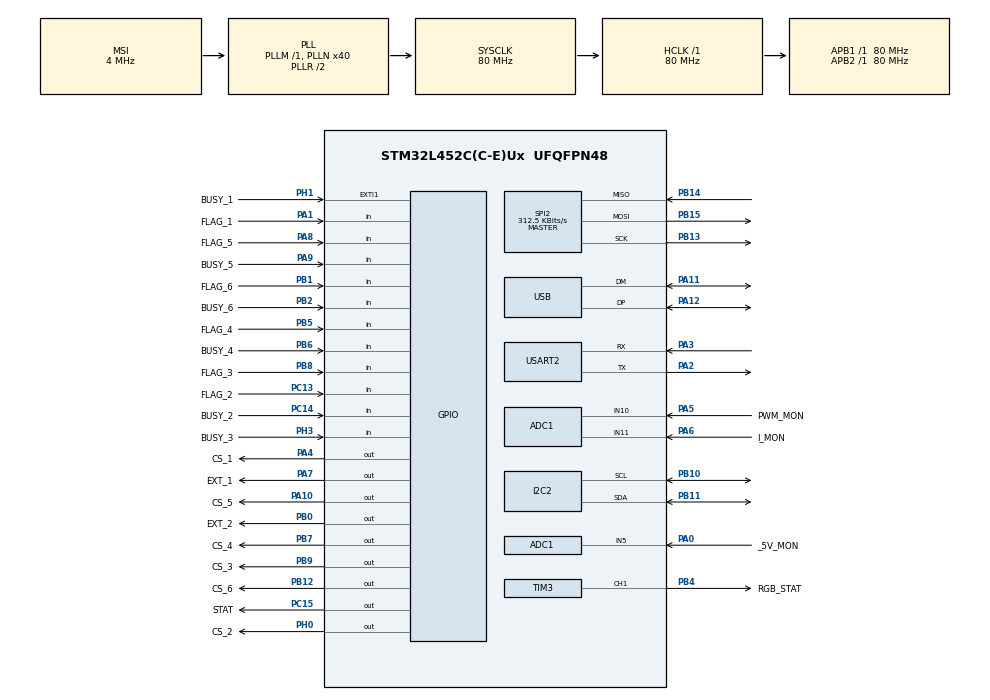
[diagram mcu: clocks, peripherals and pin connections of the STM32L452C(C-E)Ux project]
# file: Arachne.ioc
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ADC1.Channel-0\#ChannelRegularConversion=ADC_CHANNEL_5
ADC1.NbrOfConversionFlag=1
ADC1.OffsetNumber-0\#ChannelRegularConversion=ADC_OFFSET_NONE
ADC1.Rank-0\#ChannelRegularConversion=1
ADC1.SamplingTime-0\#ChannelRegularConversion=ADC_SAMPLETIME_2CYCLES_5
ADC1.master=1
Dma.Request0=TIM3_CH1/TRIG
Dma.TIM3_CH1/TRIG.0.Direction=DMA_MEMORY_TO_PERIPH
Dma.TIM3_CH1/TRIG.0.Instance=DMA1_Channel6
Dma.TIM3_CH1/TRIG.0.MemDataAlignment=DMA_MDATAALIGN_WORD
Dma.TIM3_CH1/TRIG.0.MemInc=DMA_MINC_ENABLE
Dma.TIM3_CH1/TRIG.0.Mode=DMA_NORMAL
Dma.TIM3_CH1/TRIG.0.PeriphDataAlignment=DMA_PDATAALIGN_HALFWORD
Dma.TIM3_CH1/TRIG.0.PeriphInc=DMA_PINC_DISABLE
Dma.TIM3_CH1/TRIG.0.Priority=DMA_PRIORITY_VERY_HIGH
FREERTOS.INCLUDE_xEventGroupSetBitFromISR=1
FREERTOS.INCLUDE_xTaskGetHandle=1
FREERTOS.Tasks01=Hearth_beat,8,128,Hearth_beat_enter,Default,NULL,Dynamic,NULL,NULL
FREERTOS.configGENERATE_RUN_TIME_STATS=1
FREERTOS.configTIMER_TASK_STACK_DEPTH=128
FREERTOS.configTOTAL_HEAP_SIZE=58000
FREERTOS.configUSE_PREEMPTION=0
I2C2.Timing=0x10909CEC
Mcu.Family=STM32L4
Mcu.Name=STM32L452C(C-E)Ux
Mcu.Package=UFQFPN48
NVIC.DMA1_Channel6_IRQn=true\:5\:0\:false\:false\:true\:true\:false\:true
NVIC.EXTI1_IRQn=true\:5\:0\:false\:false\:true\:true\:true\:true
NVIC.PriorityGroup=NVIC_PRIORITYGROUP_4
NVIC.TIM1_UP_TIM16_IRQn=true\:0\:0\:false\:false\:true\:false\:false\:true
NVIC.TIM2_IRQn=true\:0\:0\:true\:false\:true\:true\:true\:true
NVIC.TIM3_IRQn=true\:4\:0\:true\:false\:true\:true\:true\:true
NVIC.TimeBase=TIM1_UP_TIM16_IRQn
NVIC.TimeBaseIP=TIM16
NVIC.USART2_IRQn=true\:5\:0\:false\:false\:true\:true\:true\:true
NVIC.USB_IRQn=true\:5\:0\:false\:false\:true\:true\:false\:true
PA0.GPIO_Label=_5V_MON
PA0.Signal=ADCx_IN5
PA1.GPIO_Label=FLAG_1
PA1.Signal=GPIO_Input
PA10.GPIO_Label=CS_5
PA10.GPIO_Speed=GPIO_SPEED_FREQ_HIGH
PA10.PinState=GPIO_PIN_SET
PA10.Signal=GPIO_Output
PA11.Mode=Device
PA11.Signal=USB_DM
PA12.Mode=Device
PA12.Signal=USB_DP
PA13\ (JTMS/SWDIO).Mode=Serial_Wire
PA13\ (JTMS/SWDIO).Signal=SYS_JTMS-SWDIO
PA14\ (JTCK/SWCLK).Mode=Serial_Wire
PA14\ (JTCK/SWCLK).Signal=SYS_JTCK-SWCLK
PA2.GPIO_PuPd=GPIO_PULLUP
PA2.Mode=Asynchronous
PA2.Signal=USART2_TX
PA3.GPIO_PuPd=GPIO_PULLUP
PA3.Mode=Asynchronous
PA3.Signal=USART2_RX
PA4.GPIO_Label=CS_1
PA4.GPIO_PuPd=GPIO_NOPULL
PA4.GPIO_Speed=GPIO_SPEED_FREQ_HIGH
PA4.PinState=GPIO_PIN_SET
PA4.Signal=GPIO_Output
PA5.GPIO_Label=PWM_MON
PA5.Signal=ADCx_IN10
PA6.GPIO_Label=I_MON
PA6.Signal=ADCx_IN11
PA7.GPIO_Label=EXT_1
PA7.Signal=GPIO_Output
PA8.GPIO_Label=FLAG_5
PA8.Signal=GPIO_Input
PA9.GPIO_Label=BUSY_5
PA9.Signal=GPIO_Input
PB0.GPIO_Label=EXT_2
PB0.Signal=GPIO_Output
PB1.GPIO_Label=FLAG_6
PB1.Signal=GPIO_Input
PB10.Mode=I2C
PB10.Signal=I2C2_SCL
PB11.Mode=I2C
PB11.Signal=I2C2_SDA
PB12.GPIO_Label=CS_6
PB12.GPIO_Speed=GPIO_SPEED_FREQ_HIGH
PB12.PinState=GPIO_PIN_SET
PB12.Signal=GPIO_Output
PB13.GPIO_PuPd=GPIO_NOPULL
PB13.Mode=Full_Duplex_Master
PB13.Signal=SPI2_SCK
PB14.GPIO_PuPd=GPIO_PULLUP
PB14.Mode=Full_Duplex_Master
PB14.Signal=SPI2_MISO
PB15.GPIO_PuPd=GPIO_NOPULL
PB15.Mode=Full_Duplex_Master
PB15.Signal=SPI2_MOSI
PB2.GPIO_Label=BUSY_6
PB2.Signal=GPIO_Input
PB4\ (NJTRST).GPIO_Label=RGB_STAT
PB4\ (NJTRST).GPIO_PuPd=GPIO_PULLDOWN
PB4\ (NJTRST).GPIO_Speed=GPIO_SPEED_FREQ_VERY_HIGH
PB4\ (NJTRST).Signal=S_TIM3_CH1
PB5.GPIO_Label=FLAG_4
PB5.Signal=GPIO_Input
PB6.GPIO_Label=BUSY_4
PB6.Signal=GPIO_Input
PB7.GPIO_Label=CS_4
PB7.GPIO_Speed=GPIO_SPEED_FREQ_HIGH
PB7.PinState=GPIO_PIN_SET
PB7.Signal=GPIO_Output
PB8.GPIO_Label=FLAG_3
PB8.Signal=GPIO_Input
PB9.GPIO_Label=CS_3
PB9.GPIO_Speed=GPIO_SPEED_FREQ_HIGH
PB9.PinState=GPIO_PIN_SET
PB9.Signal=GPIO_Output
PC13.GPIO_Label=FLAG_2
PC13.Signal=GPIO_Input
PC14-OSC32_IN\ (PC14).GPIO_Label=BUSY_2
PC14-OSC32_IN\ (PC14).Signal=GPIO_Input
PC15-OSC32_OUT\ (PC15).GPIO_Label=STAT
PC15-OSC32_OUT\ (PC15).Signal=GPIO_Output
PH0-OSC_IN\ (PH0).GPIO_Label=CS_2
PH0-OSC_IN\ (PH0).GPIO_Speed=GPIO_SPEED_FREQ_HIGH
PH0-OSC_IN\ (PH0).PinState=GPIO_PIN_SET
PH0-OSC_IN\ (PH0).Signal=GPIO_Output
PH1-OSC_OUT\ (PH1).GPIO_Label=BUSY_1
PH1-OSC_OUT\ (PH1).Signal=GPXTI1
PH3-BOOT0\ (BOOT0).GPIO_Label=BUSY_3
PH3-BOOT0\ (BOOT0).Signal=GPIO_Input
ProjectManager.HeapSize=0x200
ProjectManager.StackSize=0x400
ProjectManager.TargetToolchain=Makefile
RCC.ADCFreq_Value=48000000
RCC.AHBFreq_Value=80000000
RCC.APB1Freq_Value=80000000
RCC.APB1TimFreq_Value=80000000
RCC.APB2Freq_Value=80000000
RCC.APB2TimFreq_Value=80000000
RCC.CortexFreq_Value=80000000
RCC.HCLKFreq_Value=80000000
RCC.HSE_VALUE=8000000
RCC.HSI48_VALUE=48000000
RCC.HSI_VALUE=16000000
RCC.LSE_VALUE=32768
RCC.MSI_VALUE=4000000
RCC.PLLN=40
RCC.PLLSAI1N=24
RCC.SYSCLKFreq_VALUE=80000000
RCC.SYSCLKSource=RCC_SYSCLKSOURCE_PLLCLK
RCC.USBFreq_Value=48000000
RCC.VCOOutputFreq_Value=160000000
SH.ADCx_IN10.0=ADC1_IN10,IN10-Single-Ended
SH.ADCx_IN11.0=ADC1_IN11,IN11-Single-Ended
SH.ADCx_IN5.0=ADC1_IN5,IN5-Single-Ended
SH.S_TIM3_CH1.0=TIM3_CH1,Output Compare1 CH1
SPI2.BaudRatePrescaler=SPI_BAUDRATEPRESCALER_256
SPI2.CLKPhase=SPI_PHASE_2EDGE
SPI2.CLKPolarity=SPI_POLARITY_HIGH
SPI2.CalculateBaudRate=312.5 KBits/s
SPI2.DataSize=SPI_DATASIZE_8BIT
SPI2.Direction=SPI_DIRECTION_2LINES
SPI2.Mode=SPI_MODE_MASTER
SPI2.VirtualType=VM_MASTER
TIM3.Channel-Output\ Compare1\ CH1=TIM_CHANNEL_1
TIM3.OCMode_1=TIM_OCMODE_TOGGLE
TIM3.Period=65534
TIM3.Pulse-Output\ Compare1\ CH1=65535
TIM3.TIM_MasterOutputTrigger=TIM_TRGO_UPDATE
USART2.VirtualMode-Asynchronous=VM_ASYNC
USB_DEVICE.CLASS_NAME_FS=CDC
USB_DEVICE.MANUFACTURER_STRING=TheColonelYoung
USB_DEVICE.PRODUCT_STRING_CDC_FS=Arachne manipulator
USB_DEVICE.USBD_LPM_ENABLED=0
USB_DEVICE.VirtualMode=Cdc
USB_DEVICE.VirtualModeFS=Cdc_FS
VP_FREERTOS_VS_CMSIS_V2.Mode=CMSIS_V2
VP_SYS_VS_tim16.Mode=TIM16
VP_TIM2_VS_ClockSourceINT.Mode=Internal
VP_TIM3_VS_ClockSourceINT.Mode=Internal
VP_USB_DEVICE_VS_USB_DEVICE_CDC_FS.Mode=CDC_FS
board=custom

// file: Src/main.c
/* USER CODE BEGIN Header */

/**
  ******************************************************************************
  * @file           : main.c
  * @brief          : Main program body
  ******************************************************************************
  * @attention
  *
  * <h2><center>&copy; Copyright (c) 2020 STMicroelectronics.
  * All rights reserved.</center></h2>
  *
  * This software component is licensed by ST under BSD 3-Clause license,
  * the "License"; You may not use this file except in compliance with the
  * License. You may obtain a copy of the License at:
  *                        opensource.org/licenses/BSD-3-Clause
  *
  ******************************************************************************
  */
/* USER CODE END Header */
#include "main.h"
#include "cmsis_os.h"
#include "usb_device.h"

/* USER CODE BEGIN Includes */
#include <functional>

#include "gpio/pin.hpp"
#include "device/device.hpp"
#include "usbd_cdc_if.h"
#include "misc/logger.hpp"
#include "misc/invocation_wrapper.hpp"
#include "tools/tasker.hpp"
#include "led/WS2818B.hpp"
#include "motor/L6470.hpp"
#include "construction/motion_axis_L6470.hpp"
#include "../app/eyrina.hpp"
/* USER CODE END Includes */

ADC_HandleTypeDef hadc1;

I2C_HandleTypeDef hi2c2;

SPI_HandleTypeDef hspi2;

TIM_HandleTypeDef htim2;
TIM_HandleTypeDef htim3;
DMA_HandleTypeDef hdma_tim3_ch1_trig;

UART_HandleTypeDef huart2;

/* Definitions for Hearth_beat */
osThreadId_t Hearth_beatHandle;
const osThreadAttr_t Hearth_beat_attributes = {
    .name       = "Hearth_beat",
    .stack_size = 128 * 4,
    .priority   = (osPriority_t) osPriorityLow,
};

void SystemClock_Config(void);
static void MX_GPIO_Init(void);
static void MX_DMA_Init(void);
static void MX_ADC1_Init(void);
static void MX_SPI2_Init(void);
static void MX_TIM3_Init(void);
static void MX_USART2_UART_Init(void);
static void MX_I2C2_Init(void);
static void MX_TIM2_Init(void);
void Hearth_beat_enter(void *argument);

int main(void){

    /* MCU Configuration--------------------------------------------------------*/

    /* Reset of all peripherals, Initializes the Flash interface and the Systick. */
    HAL_Init();

    /* Configure the system clock */
    SystemClock_Config();

    /* Initialize all configured peripherals */
    MX_GPIO_Init();
    MX_DMA_Init();
    MX_ADC1_Init();
    MX_SPI2_Init();
    MX_TIM3_Init();
    MX_USART2_UART_Init();
    MX_I2C2_Init();
    MX_TIM2_Init();

    /* Init scheduler */
    osKernelInitialize();

    /* Create the thread(s) */
    /* creation of Hearth_beat */
    Hearth_beatHandle = osThreadNew(Hearth_beat_enter, NULL, &Hearth_beat_attributes);

    /* USER CODE BEGIN RTOS_THREADS */
    device()->Enable_CLI(device()->mcu->USB_port);
    device()->Enable_Filesystem();
    device()->cli->Enable_filesystem_executable(device()->fs);
    device()->cli->Enable_history(5);

    Logger().Instance()->Add_log_channel(new Invocation_wrapper<UART, int, string>(device()->mcu->UART_2, &UART::Send));

    Pin *Status_LED = new Pin('C', 15);
    Status_LED->Set(0);

    Tasker::Instance(device()->mcu->TIM_2);
    Tasker::Instance()->New_event(50000, -1, Status_LED, &Pin::Toggle, 0, "LED_Toggle");

    // WS2818B *led = new WS2818B(device()->mcu->TIM_3, 0);
    // led->Color(0x08, 0x00, 0x00);

    // HAL_Delay(100);

    Eyrina *eyrina = new Eyrina();
    eyrina->Init();
    device()->cli->Start_foreground_application("/apps/eyrina");
    /* add threads, ... */
    /* USER CODE END RTOS_THREADS */

    /* Start scheduler */
    osKernelStart();

    /* We should never get here as control is now taken by the scheduler */
    /* Infinite loop */
    while (1) {

    }
} // main

void SystemClock_Config(void){
    RCC_OscInitTypeDef RCC_OscInitStruct   = { 0 };
    RCC_ClkInitTypeDef RCC_ClkInitStruct   = { 0 };
    RCC_PeriphCLKInitTypeDef PeriphClkInit = { 0 };

    /** Initializes the RCC Oscillators according to the specified parameters
    * in the RCC_OscInitTypeDef structure.
    */
    RCC_OscInitStruct.OscillatorType      = RCC_OSCILLATORTYPE_MSI;
    RCC_OscInitStruct.MSIState            = RCC_MSI_ON;
    RCC_OscInitStruct.MSICalibrationValue = 0;
    RCC_OscInitStruct.MSIClockRange       = RCC_MSIRANGE_6;
    RCC_OscInitStruct.PLL.PLLState        = RCC_PLL_ON;
    RCC_OscInitStruct.PLL.PLLSource       = RCC_PLLSOURCE_MSI;
    RCC_OscInitStruct.PLL.PLLM            = 1;
    RCC_OscInitStruct.PLL.PLLN            = 40;
    RCC_OscInitStruct.PLL.PLLP            = RCC_PLLP_DIV7;
    RCC_OscInitStruct.PLL.PLLQ            = RCC_PLLQ_DIV2;
    RCC_OscInitStruct.PLL.PLLR            = RCC_PLLR_DIV2;
    if (HAL_RCC_OscConfig(&RCC_OscInitStruct) != HAL_OK) {
        Error_Handler();
    }

    /** Initializes the CPU, AHB and APB buses clocks
    */
    RCC_ClkInitStruct.ClockType = RCC_CLOCKTYPE_HCLK | RCC_CLOCKTYPE_SYSCLK
      | RCC_CLOCKTYPE_PCLK1 | RCC_CLOCKTYPE_PCLK2;
    RCC_ClkInitStruct.SYSCLKSource   = RCC_SYSCLKSOURCE_PLLCLK;
    RCC_ClkInitStruct.AHBCLKDivider  = RCC_SYSCLK_DIV1;
    RCC_ClkInitStruct.APB1CLKDivider = RCC_HCLK_DIV1;
    RCC_ClkInitStruct.APB2CLKDivider = RCC_HCLK_DIV1;

    if (HAL_RCC_ClockConfig(&RCC_ClkInitStruct, FLASH_LATENCY_4) != HAL_OK) {
        Error_Handler();
    }
    PeriphClkInit.PeriphClockSelection = RCC_PERIPHCLK_USART2 | RCC_PERIPHCLK_I2C2
      | RCC_PERIPHCLK_USB | RCC_PERIPHCLK_ADC;
    PeriphClkInit.Usart2ClockSelection    = RCC_USART2CLKSOURCE_PCLK1;
    PeriphClkInit.I2c2ClockSelection      = RCC_I2C2CLKSOURCE_PCLK1;
    PeriphClkInit.AdcClockSelection       = RCC_ADCCLKSOURCE_PLLSAI1;
    PeriphClkInit.UsbClockSelection       = RCC_USBCLKSOURCE_PLLSAI1;
    PeriphClkInit.PLLSAI1.PLLSAI1Source   = RCC_PLLSOURCE_MSI;
    PeriphClkInit.PLLSAI1.PLLSAI1M        = 1;
    PeriphClkInit.PLLSAI1.PLLSAI1N        = 24;
    PeriphClkInit.PLLSAI1.PLLSAI1P        = RCC_PLLP_DIV7;
    PeriphClkInit.PLLSAI1.PLLSAI1Q        = RCC_PLLQ_DIV2;
    PeriphClkInit.PLLSAI1.PLLSAI1R        = RCC_PLLR_DIV2;
    PeriphClkInit.PLLSAI1.PLLSAI1ClockOut = RCC_PLLSAI1_48M2CLK | RCC_PLLSAI1_ADC1CLK;
    if (HAL_RCCEx_PeriphCLKConfig(&PeriphClkInit) != HAL_OK) {
        Error_Handler();
    }

    /** Configure the main internal regulator output voltage
    */
    if (HAL_PWREx_ControlVoltageScaling(PWR_REGULATOR_VOLTAGE_SCALE1) != HAL_OK) {
        Error_Handler();
    }
} // SystemClock_Config

static void MX_ADC1_Init(void){

    ADC_ChannelConfTypeDef sConfig = { 0 };

    /** Common config
    */
    hadc1.Instance = ADC1;
    hadc1.Init.ClockPrescaler        = ADC_CLOCK_ASYNC_DIV1;
    hadc1.Init.Resolution            = ADC_RESOLUTION_12B;
    hadc1.Init.DataAlign             = ADC_DATAALIGN_RIGHT;
    hadc1.Init.ScanConvMode          = ADC_SCAN_DISABLE;
    hadc1.Init.EOCSelection          = ADC_EOC_SINGLE_CONV;
    hadc1.Init.LowPowerAutoWait      = DISABLE;
    hadc1.Init.ContinuousConvMode    = DISABLE;
    hadc1.Init.NbrOfConversion       = 1;
    hadc1.Init.DiscontinuousConvMode = DISABLE;
    hadc1.Init.ExternalTrigConv      = ADC_SOFTWARE_START;
    hadc1.Init.ExternalTrigConvEdge  = ADC_EXTERNALTRIGCONVEDGE_NONE;
    hadc1.Init.DMAContinuousRequests = DISABLE;
    hadc1.Init.Overrun = ADC_OVR_DATA_PRESERVED;
    hadc1.Init.OversamplingMode = DISABLE;
    if (HAL_ADC_Init(&hadc1) != HAL_OK) {
        Error_Handler();
    }

    /** Configure Regular Channel
    */
    sConfig.Channel      = ADC_CHANNEL_5;
    sConfig.Rank         = ADC_REGULAR_RANK_1;
    sConfig.SamplingTime = ADC_SAMPLETIME_2CYCLES_5;
    sConfig.SingleDiff   = ADC_SINGLE_ENDED;
    sConfig.OffsetNumber = ADC_OFFSET_NONE;
    sConfig.Offset       = 0;
    if (HAL_ADC_ConfigChannel(&hadc1, &sConfig) != HAL_OK) {
        Error_Handler();
    }
} // MX_ADC1_Init

static void MX_I2C2_Init(void){

    hi2c2.Instance              = I2C2;
    hi2c2.Init.Timing           = 0x10909CEC;
    hi2c2.Init.OwnAddress1      = 0;
    hi2c2.Init.AddressingMode   = I2C_ADDRESSINGMODE_7BIT;
    hi2c2.Init.DualAddressMode  = I2C_DUALADDRESS_DISABLE;
    hi2c2.Init.OwnAddress2      = 0;
    hi2c2.Init.OwnAddress2Masks = I2C_OA2_NOMASK;
    hi2c2.Init.GeneralCallMode  = I2C_GENERALCALL_DISABLE;
    hi2c2.Init.NoStretchMode    = I2C_NOSTRETCH_DISABLE;
    if (HAL_I2C_Init(&hi2c2) != HAL_OK) {
        Error_Handler();
    }

    /** Configure Analogue filter
    */
    if (HAL_I2CEx_ConfigAnalogFilter(&hi2c2, I2C_ANALOGFILTER_ENABLE) != HAL_OK) {
        Error_Handler();
    }

    /** Configure Digital filter
    */
    if (HAL_I2CEx_ConfigDigitalFilter(&hi2c2, 0) != HAL_OK) {
        Error_Handler();
    }
} // MX_I2C2_Init

static void MX_SPI2_Init(void){

    /* SPI2 parameter configuration*/
    hspi2.Instance               = SPI2;
    hspi2.Init.Mode              = SPI_MODE_MASTER;
    hspi2.Init.Direction         = SPI_DIRECTION_2LINES;
    hspi2.Init.DataSize          = SPI_DATASIZE_8BIT;
    hspi2.Init.CLKPolarity       = SPI_POLARITY_HIGH;
    hspi2.Init.CLKPhase          = SPI_PHASE_2EDGE;
    hspi2.Init.NSS               = SPI_NSS_SOFT;
    hspi2.Init.BaudRatePrescaler = SPI_BAUDRATEPRESCALER_256;
    hspi2.Init.FirstBit          = SPI_FIRSTBIT_MSB;
    hspi2.Init.TIMode            = SPI_TIMODE_DISABLE;
    hspi2.Init.CRCCalculation    = SPI_CRCCALCULATION_DISABLE;
    hspi2.Init.CRCPolynomial     = 7;
    hspi2.Init.CRCLength         = SPI_CRC_LENGTH_DATASIZE;
    hspi2.Init.NSSPMode          = SPI_NSS_PULSE_DISABLE;
    if (HAL_SPI_Init(&hspi2) != HAL_OK) {
        Error_Handler();
    }
}

static void MX_TIM2_Init(void){

    TIM_ClockConfigTypeDef sClockSourceConfig = { 0 };
    TIM_MasterConfigTypeDef sMasterConfig     = { 0 };

    htim2.Instance               = TIM2;
    htim2.Init.Prescaler         = 0;
    htim2.Init.CounterMode       = TIM_COUNTERMODE_UP;
    htim2.Init.Period            = 4294967295;
    htim2.Init.ClockDivision     = TIM_CLOCKDIVISION_DIV1;
    htim2.Init.AutoReloadPreload = TIM_AUTORELOAD_PRELOAD_DISABLE;
    if (HAL_TIM_Base_Init(&htim2) != HAL_OK) {
        Error_Handler();
    }
    sClockSourceConfig.ClockSource = TIM_CLOCKSOURCE_INTERNAL;
    if (HAL_TIM_ConfigClockSource(&htim2, &sClockSourceConfig) != HAL_OK) {
        Error_Handler();
    }
    sMasterConfig.MasterOutputTrigger = TIM_TRGO_RESET;
    sMasterConfig.MasterSlaveMode     = TIM_MASTERSLAVEMODE_DISABLE;
    if (HAL_TIMEx_MasterConfigSynchronization(&htim2, &sMasterConfig) != HAL_OK) {
        Error_Handler();
    }
} // MX_TIM2_Init

static void MX_TIM3_Init(void){

    TIM_ClockConfigTypeDef sClockSourceConfig = { 0 };
    TIM_MasterConfigTypeDef sMasterConfig     = { 0 };
    TIM_OC_InitTypeDef sConfigOC = { 0 };

    htim3.Instance               = TIM3;
    htim3.Init.Prescaler         = 0;
    htim3.Init.CounterMode       = TIM_COUNTERMODE_UP;
    htim3.Init.Period            = 65534;
    htim3.Init.ClockDivision     = TIM_CLOCKDIVISION_DIV1;
    htim3.Init.AutoReloadPreload = TIM_AUTORELOAD_PRELOAD_DISABLE;
    if (HAL_TIM_Base_Init(&htim3) != HAL_OK) {
        Error_Handler();
    }
    sClockSourceConfig.ClockSource = TIM_CLOCKSOURCE_INTERNAL;
    if (HAL_TIM_ConfigClockSource(&htim3, &sClockSourceConfig) != HAL_OK) {
        Error_Handler();
    }
    if (HAL_TIM_OC_Init(&htim3) != HAL_OK) {
        Error_Handler();
    }
    sMasterConfig.MasterOutputTrigger = TIM_TRGO_UPDATE;
    sMasterConfig.MasterSlaveMode     = TIM_MASTERSLAVEMODE_DISABLE;
    if (HAL_TIMEx_MasterConfigSynchronization(&htim3, &sMasterConfig) != HAL_OK) {
        Error_Handler();
    }
    sConfigOC.OCMode     = TIM_OCMODE_TOGGLE;
    sConfigOC.Pulse      = 65535;
    sConfigOC.OCPolarity = TIM_OCPOLARITY_HIGH;
    sConfigOC.OCFastMode = TIM_OCFAST_DISABLE;
    if (HAL_TIM_OC_ConfigChannel(&htim3, &sConfigOC, TIM_CHANNEL_1) != HAL_OK) {
        Error_Handler();
    }
    HAL_TIM_MspPostInit(&htim3);
} // MX_TIM3_Init

static void MX_USART2_UART_Init(void){

    huart2.Instance                    = USART2;
    huart2.Init.BaudRate               = 115200;
    huart2.Init.WordLength             = UART_WORDLENGTH_8B;
    huart2.Init.StopBits               = UART_STOPBITS_1;
    huart2.Init.Parity                 = UART_PARITY_NONE;
    huart2.Init.Mode                   = UART_MODE_TX_RX;
    huart2.Init.HwFlowCtl              = UART_HWCONTROL_NONE;
    huart2.Init.OverSampling           = UART_OVERSAMPLING_16;
    huart2.Init.OneBitSampling         = UART_ONE_BIT_SAMPLE_DISABLE;
    huart2.AdvancedInit.AdvFeatureInit = UART_ADVFEATURE_NO_INIT;
    if (HAL_UART_Init(&huart2) != HAL_OK) {
        Error_Handler();
    }
}

static void MX_DMA_Init(void){
    /* DMA controller clock enable */
    __HAL_RCC_DMA1_CLK_ENABLE();

    /* DMA interrupt init */
    /* DMA1_Channel6_IRQn interrupt configuration */
    HAL_NVIC_SetPriority(DMA1_Channel6_IRQn, 5, 0);
    HAL_NVIC_EnableIRQ(DMA1_Channel6_IRQn);
}

static void MX_GPIO_Init(void){
    GPIO_InitTypeDef GPIO_InitStruct = { 0 };

    /* GPIO Ports Clock Enable */
    __HAL_RCC_GPIOC_CLK_ENABLE();
    __HAL_RCC_GPIOH_CLK_ENABLE();
    __HAL_RCC_GPIOA_CLK_ENABLE();
    __HAL_RCC_GPIOB_CLK_ENABLE();

    /*Configure GPIO pin Output Level */
    HAL_GPIO_WritePin(STAT_GPIO_Port, STAT_Pin, GPIO_PIN_RESET);

    /*Configure GPIO pin Output Level */
    HAL_GPIO_WritePin(CS_2_GPIO_Port, CS_2_Pin, GPIO_PIN_SET);

    /*Configure GPIO pin Output Level */
    HAL_GPIO_WritePin(GPIOA, CS_1_Pin | CS_5_Pin, GPIO_PIN_SET);

    /*Configure GPIO pin Output Level */
    HAL_GPIO_WritePin(EXT_1_GPIO_Port, EXT_1_Pin, GPIO_PIN_RESET);

    /*Configure GPIO pin Output Level */
    HAL_GPIO_WritePin(EXT_2_GPIO_Port, EXT_2_Pin, GPIO_PIN_RESET);

    /*Configure GPIO pin Output Level */
    HAL_GPIO_WritePin(GPIOB, CS_6_Pin | CS_4_Pin | CS_3_Pin, GPIO_PIN_SET);

    /*Configure GPIO pins : FLAG_2_Pin BUSY_2_Pin */
    GPIO_InitStruct.Pin  = FLAG_2_Pin | BUSY_2_Pin;
    GPIO_InitStruct.Mode = GPIO_MODE_INPUT;
    GPIO_InitStruct.Pull = GPIO_NOPULL;
    HAL_GPIO_Init(GPIOC, &GPIO_InitStruct);

    /*Configure GPIO pin : STAT_Pin */
    GPIO_InitStruct.Pin   = STAT_Pin;
    GPIO_InitStruct.Mode  = GPIO_MODE_OUTPUT_PP;
    GPIO_InitStruct.Pull  = GPIO_NOPULL;
    GPIO_InitStruct.Speed = GPIO_SPEED_FREQ_LOW;
    HAL_GPIO_Init(STAT_GPIO_Port, &GPIO_InitStruct);

    /*Configure GPIO pin : CS_2_Pin */
    GPIO_InitStruct.Pin   = CS_2_Pin;
    GPIO_InitStruct.Mode  = GPIO_MODE_OUTPUT_PP;
    GPIO_InitStruct.Pull  = GPIO_NOPULL;
    GPIO_InitStruct.Speed = GPIO_SPEED_FREQ_HIGH;
    HAL_GPIO_Init(CS_2_GPIO_Port, &GPIO_InitStruct);

    /*Configure GPIO pin : BUSY_1_Pin */
    GPIO_InitStruct.Pin  = BUSY_1_Pin;
    GPIO_InitStruct.Mode = GPIO_MODE_IT_RISING;
    GPIO_InitStruct.Pull = GPIO_NOPULL;
    HAL_GPIO_Init(BUSY_1_GPIO_Port, &GPIO_InitStruct);

    /*Configure GPIO pins : FLAG_1_Pin FLAG_5_Pin BUSY_5_Pin */
    GPIO_InitStruct.Pin  = FLAG_1_Pin | FLAG_5_Pin | BUSY_5_Pin;
    GPIO_InitStruct.Mode = GPIO_MODE_INPUT;
    GPIO_InitStruct.Pull = GPIO_NOPULL;
    HAL_GPIO_Init(GPIOA, &GPIO_InitStruct);

    /*Configure GPIO pins : CS_1_Pin CS_5_Pin */
    GPIO_InitStruct.Pin   = CS_1_Pin | CS_5_Pin;
    GPIO_InitStruct.Mode  = GPIO_MODE_OUTPUT_PP;
    GPIO_InitStruct.Pull  = GPIO_NOPULL;
    GPIO_InitStruct.Speed = GPIO_SPEED_FREQ_HIGH;
    HAL_GPIO_Init(GPIOA, &GPIO_InitStruct);

    /*Configure GPIO pin : EXT_1_Pin */
    GPIO_InitStruct.Pin   = EXT_1_Pin;
    GPIO_InitStruct.Mode  = GPIO_MODE_OUTPUT_PP;
    GPIO_InitStruct.Pull  = GPIO_NOPULL;
    GPIO_InitStruct.Speed = GPIO_SPEED_FREQ_LOW;
    HAL_GPIO_Init(EXT_1_GPIO_Port, &GPIO_InitStruct);

    /*Configure GPIO pin : EXT_2_Pin */
    GPIO_InitStruct.Pin   = EXT_2_Pin;
    GPIO_InitStruct.Mode  = GPIO_MODE_OUTPUT_PP;
    GPIO_InitStruct.Pull  = GPIO_NOPULL;
    GPIO_InitStruct.Speed = GPIO_SPEED_FREQ_LOW;
    HAL_GPIO_Init(EXT_2_GPIO_Port, &GPIO_InitStruct);

    /*Configure GPIO pins : FLAG_6_Pin BUSY_6_Pin FLAG_4_Pin BUSY_4_Pin
                             FLAG_3_Pin */
    GPIO_InitStruct.Pin = FLAG_6_Pin | BUSY_6_Pin | FLAG_4_Pin | BUSY_4_Pin
      | FLAG_3_Pin;
    GPIO_InitStruct.Mode = GPIO_MODE_INPUT;
    GPIO_InitStruct.Pull = GPIO_NOPULL;
    HAL_GPIO_Init(GPIOB, &GPIO_InitStruct);

    /*Configure GPIO pins : CS_6_Pin CS_4_Pin CS_3_Pin */
    GPIO_InitStruct.Pin   = CS_6_Pin | CS_4_Pin | CS_3_Pin;
    GPIO_InitStruct.Mode  = GPIO_MODE_OUTPUT_PP;
    GPIO_InitStruct.Pull  = GPIO_NOPULL;
    GPIO_InitStruct.Speed = GPIO_SPEED_FREQ_HIGH;
    HAL_GPIO_Init(GPIOB, &GPIO_InitStruct);

    /*Configure GPIO pin : BUSY_3_Pin */
    GPIO_InitStruct.Pin  = BUSY_3_Pin;
    GPIO_InitStruct.Mode = GPIO_MODE_INPUT;
    GPIO_InitStruct.Pull = GPIO_NOPULL;
    HAL_GPIO_Init(BUSY_3_GPIO_Port, &GPIO_InitStruct);

    /* EXTI interrupt init*/
    HAL_NVIC_SetPriority(EXTI1_IRQn, 5, 0);
    HAL_NVIC_EnableIRQ(EXTI1_IRQn);
} // MX_GPIO_Init

void Hearth_beat_enter(void *argument){
    /* init code for USB_DEVICE */
    MX_USB_DEVICE_Init();
    /* USER CODE BEGIN 5 */
    Pin *Status_LED = new Pin('C', 15);
    Status_LED->Set(0);
    /* Infinite loop */
    for (;;) {
        Status_LED->Set(1);
        osDelay(100);
        Status_LED->Set(0);
        osDelay(100);
    }
    /* USER CODE END 5 */
}

void HAL_TIM_PeriodElapsedCallback(TIM_HandleTypeDef *htim){
    if (htim->Instance == TIM16) {
        HAL_IncTick();
    }
}

void Error_Handler(void){
}

/************************ (C) COPYRIGHT STMicroelectronics *****END OF FILE****/

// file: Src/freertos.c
/* USER CODE BEGIN Header */

/**
  ******************************************************************************
  * File Name          : freertos.c
  * Description        : Code for freertos applications
  ******************************************************************************
  * @attention
  *
  * <h2><center>&copy; Copyright (c) 2021 STMicroelectronics.
  * All rights reserved.</center></h2>
  *
  * This software component is licensed by ST under Ultimate Liberty license
  * SLA0044, the "License"; You may not use this file except in compliance with
  * the License. You may obtain a copy of the License at:
  *                             www.st.com/SLA0044
  *
  ******************************************************************************
  */
/* USER CODE END Header */

#include "FreeRTOS.h"
#include "task.h"
#include "main.h"

/* Hook prototypes */
void configureTimerForRunTimeStats(void);
unsigned long getRunTimeCounterValue(void);

/* USER CODE BEGIN 1 */
unsigned int stats_timer;
/* Functions needed when configGENERATE_RUN_TIME_STATS is on */
__weak void configureTimerForRunTimeStats(void){
    stats_timer = HAL_GetTick();
}

__weak unsigned long getRunTimeCounterValue(void){
    return HAL_GetTick() - stats_timer;
}

/* USER CODE END 1 */

/************************ (C) COPYRIGHT STMicroelectronics *****END OF FILE****/
